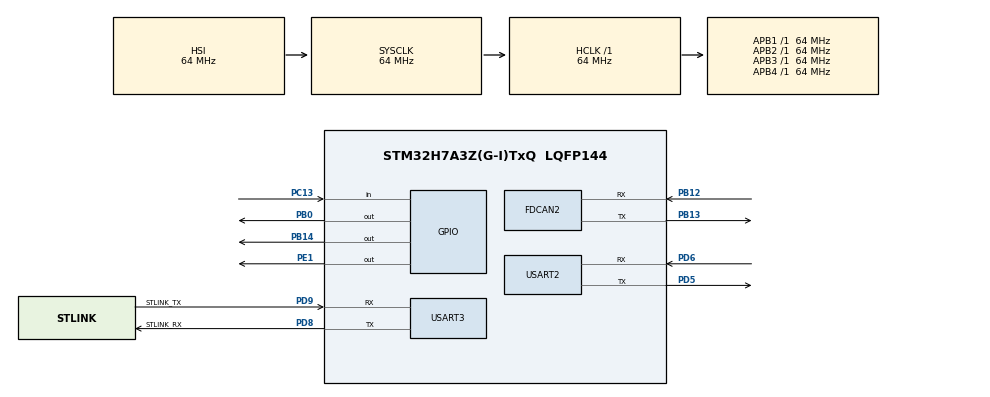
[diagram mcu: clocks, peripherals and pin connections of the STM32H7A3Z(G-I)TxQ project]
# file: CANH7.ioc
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CORTEX_M7.default_mode_Activation=1
FDCAN2.AutoRetransmission=ENABLE
FDCAN2.CalculateBaudRateNominal=320000
FDCAN2.CalculateTimeBitNominal=3125
FDCAN2.CalculateTimeQuantumNominal=31.25
FDCAN2.DataPrescaler=2
FDCAN2.DataSyncJumpWidth=12
FDCAN2.DataTimeSeg1=12
FDCAN2.DataTimeSeg2=12
FDCAN2.FrameFormat=FDCAN_FRAME_FD_BRS
FDCAN2.NominalPrescaler=1
FDCAN2.NominalSyncJumpWidth=13
FDCAN2.NominalTimeSeg1=86
FDCAN2.NominalTimeSeg2=13
FDCAN2.RxBufferSize=FDCAN_DATA_BYTES_12
FDCAN2.RxBuffersNbr=0
FDCAN2.RxFifo0ElmtSize=FDCAN_DATA_BYTES_8
FDCAN2.RxFifo0ElmtsNbr=1
FDCAN2.RxFifo1ElmtsNbr=0
FDCAN2.StdFiltersNbr=1
FDCAN2.TxBuffersNbr=0
FDCAN2.TxElmtSize=FDCAN_DATA_BYTES_8
FDCAN2.TxFifoQueueElmtsNbr=1
Mcu.Family=STM32H7
Mcu.Name=STM32H7A3Z(G-I)TxQ
Mcu.Package=LQFP144
NUCLEO-H7A3ZI-Q.BUTTON=1
NUCLEO-H7A3ZI-Q.LD1=true
NUCLEO-H7A3ZI-Q.LD2=true
NUCLEO-H7A3ZI-Q.LD3=true
NVIC.EXTI15_10_IRQn=true\:0\:0\:false\:false\:true\:false\:true\:true
NVIC.FDCAN2_IT0_IRQn=true\:0\:0\:false\:false\:true\:true\:true\:true
NVIC.FDCAN2_IT1_IRQn=true\:0\:0\:false\:false\:true\:true\:true\:true
NVIC.PriorityGroup=NVIC_PRIORITYGROUP_4
NVIC.USART2_IRQn=true\:0\:0\:false\:false\:true\:true\:true\:true
PB0.Signal=GPIO_Output
PB12.Mode=FDCAN_Activate
PB12.Signal=FDCAN2_RX
PB13.Mode=FDCAN_Activate
PB13.Signal=FDCAN2_TX
PB14.Signal=GPIO_Output
PC13.Signal=GPIO_Input
PC14-OSC32_IN.GPIO_Label=OSC32_IN
PC14-OSC32_IN.Signal=RCC_OSC32_IN
PC15-OSC32_OUT.GPIO_Label=OSC32_OUT
PC15-OSC32_OUT.Signal=RCC_OSC32_OUT
PD5.GPIO_Speed=GPIO_SPEED_FREQ_VERY_HIGH
PD5.Mode=Asynchronous
PD5.Signal=USART2_TX
PD6.GPIO_Speed=GPIO_SPEED_FREQ_VERY_HIGH
PD6.Mode=Asynchronous
PD6.Signal=USART2_RX
PD8.GPIO_Label=STLINK_RX
PD8.Mode=Asynchronous
PD8.Signal=USART3_TX
PD9.GPIO_Label=STLINK_TX
PD9.Mode=Asynchronous
PD9.Signal=USART3_RX
PE1.Signal=GPIO_Output
PH0-OSC_IN.GPIO_Label=PH0-MCU
PH0-OSC_IN.Signal=RCC_OSC_IN
PH1-OSC_OUT.GPIO_Label=PH1-MCU
PH1-OSC_OUT.Signal=RCC_OSC_OUT
ProjectManager.HeapSize=0x200
ProjectManager.StackSize=0x400
ProjectManager.TargetToolchain=STM32CubeIDE
RCC.ADCFreq_Value=129000000
RCC.APB1Freq_Value=64000000
RCC.APB2Freq_Value=64000000
RCC.APB3Freq_Value=64000000
RCC.APB4Freq_Value=64000000
RCC.CortexFreq_Value=64000000
RCC.DIVM1=4
RCC.DIVM3=1
RCC.DIVN1=8
RCC.DIVN3=24
RCC.DIVQ1=4
RCC.HCLKFreq_Value=64000000
RCC.HSE_VALUE=8000000
RCC.PLLFRACN=0
RCC.PWR_Regulator_Voltage_Scale=PWR_REGULATOR_VOLTAGE_SCALE0
RCC.SYSCLKFreq_VALUE=64000000
RCC.SupplySource=PWR_DIRECT_SMPS_SUPPLY
RCC.USBCLockSelection=RCC_USBCLKSOURCE_HSI48
RCC.USBFreq_Value=48000000
USART2.VirtualMode-Asynchronous=VM_ASYNC
USART3.VirtualMode-Asynchronous=VM_ASYNC
VP_MEMORYMAP_VS_MEMORYMAP.Mode=CurAppReg
VP_NUCLEO-H7A3ZI-Q_VS_BSP_COMMON.Mode=COMMON
board=NUCLEO-H7A3ZI-Q

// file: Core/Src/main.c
/* USER CODE BEGIN Header */
/**
  ******************************************************************************
  * @file           : main.c
  * @brief          : Main program body
  ******************************************************************************
  * @attention
  *
  * Copyright (c) 2025 STMicroelectronics.
  * All rights reserved.
  *
  * This software is licensed under terms that can be found in the LICENSE file
  * in the root directory of this software component.
  * If no LICENSE file comes with this software, it is provided AS-IS.
  *
  ******************************************************************************
  */
/* USER CODE END Header */
#include "main.h"

/* USER CODE BEGIN Includes */
#include <stdio.h>
#include <string.h>
#define START_MARKER_1 0xAA
#define START_MARKER_2 0x55
#define END_MARKER_1   0x55
#define END_MARKER_2   0xAA
#define PACKET_SIZE    156
#define PAYLOAD_SIZE   152

#define OD_TEMP_INDEX        0x2000
#define OD_VIB_INDEX         0x2001
#define OD_PRESS_INDEX       0x2002
#define OD_FLOW_INDEX        0x2003
#define OD_CURRENT_INDEX     0x2004
#define OD_VOLTAGE_INDEX     0x2005

#define OD_FFT_TEMP_INDEX    0x2010
#define OD_FFT_VIB_INDEX     0x2011
#define OD_FFT_PRESS_INDEX  0x2012
#define OD_FFT_FLOW_INDEX   0x2013
#define SDO_INIT_UPLOAD     0x40
#define SDO_EXPEDITED_4B   0x43
#define SDO_EXPEDITED_NB   0x4F   // example for arrays (custom use)

#define NODE_ID_SERVER   0x01
#define NODE_ID_CLIENT   0x01

uint16_t index_glob = 0;
uint32_t offset = 0;

#pragma pack(push, 1)
typedef struct {
  float Temperature;
  float Vibration;
  float Pressure;
  float Flow_Rate;
  float Current;
  float Voltage;
  float FFT_Temperature[8];
  float FFT_Vibration[8];
  float FFT_Pressure[8];
  float FFT_Flow[8];
} DataPacket;
#pragma pack(pop)
/* USER CODE END Includes */

/* USER CODE BEGIN PD */
uint32_t bytesToDLC(uint32_t size)
{
    if (size <= 8)  return size << 16;
    if (size <= 12) return FDCAN_DLC_BYTES_12;
    if (size <= 16) return FDCAN_DLC_BYTES_16;
    if (size <= 20) return FDCAN_DLC_BYTES_20;
    if (size <= 24) return FDCAN_DLC_BYTES_24;
    if (size <= 32) return FDCAN_DLC_BYTES_32;
    if (size <= 48) return FDCAN_DLC_BYTES_48;
    return FDCAN_DLC_BYTES_64;
}
/* USER CODE END PD */

FDCAN_HandleTypeDef hfdcan2;

UART_HandleTypeDef huart2;
UART_HandleTypeDef huart3;

/* USER CODE BEGIN PV */
FDCAN_FilterTypeDef sFilterConfig;
FDCAN_TxHeaderTypeDef TxHeader;
FDCAN_RxHeaderTypeDef RxHeader;
int __io_putchar(int ch)
{
    HAL_UART_Transmit(&huart3, (uint8_t *)&ch, 1, HAL_MAX_DELAY);
    return ch;
}

/* USER CODE END PV */

void SystemClock_Config(void);
static void MPU_Config(void);
static void MX_GPIO_Init(void);
static void MX_USART3_UART_Init(void);
static void MX_FDCAN2_Init(void);
static void MX_USART2_UART_Init(void);
/* USER CODE BEGIN PFP */
int __io_putchar(int ch);
void processPacket(void);
void CANopen_SDO_Send_Float(uint8_t clientId, uint16_t index, uint8_t sub, float value);
void CANopen_SDO_Send_CHUNK(uint8_t clientId, float *array, uint32_t count);
void CANopen_SDO_Send_Array(uint8_t clientId, uint16_t index, uint8_t sub, float *array, uint32_t count);
void handle_CAN_request(FDCAN_RxHeaderTypeDef *rxHeader, uint8_t *rxData);
void HAL_UART_RxCpltCallback(UART_HandleTypeDef *huart);
void HAL_FDCAN_RxFifo0Callback(FDCAN_HandleTypeDef *hfdcan, uint32_t RxFifo0ITs);
/* USER CODE BEGIN PFP */
uint8_t rxBuffer[PACKET_SIZE];
DataPacket packet;
HAL_StatusTypeDef flag = HAL_ERROR ;
uint32_t totalSize = 156;
uint32_t maxFrameSize = 64;

/* USER CODE END PFP */

int main(void)
{

  /* MPU Configuration--------------------------------------------------------*/
  MPU_Config();

  /* MCU Configuration--------------------------------------------------------*/

  /* Reset of all peripherals, Initializes the Flash interface and the Systick. */
  HAL_Init();

  /* Configure the system clock */
  SystemClock_Config();

  /* Initialize all configured peripherals */
  MX_GPIO_Init();
  MX_USART3_UART_Init();
  MX_FDCAN2_Init();
  MX_USART2_UART_Init();
  /* USER CODE BEGIN 2 */
  HAL_NVIC_SetPriority(FDCAN2_IT0_IRQn, 0, 0);
  HAL_NVIC_EnableIRQ(FDCAN2_IT0_IRQn);
  /* Configure Tx buffer message */
  HAL_NVIC_SetPriority(USART2_IRQn, 1, 0);
  HAL_NVIC_EnableIRQ(USART2_IRQn);
  HAL_UART_Receive_IT(&huart2, rxBuffer, sizeof(rxBuffer));

  printf("UART interrupt ready. Waiting for data...\r\n");
    TxHeader.Identifier = 0x581;
    TxHeader.IdType = FDCAN_STANDARD_ID;
    TxHeader.TxFrameType = FDCAN_DATA_FRAME;
    TxHeader.DataLength = FDCAN_DLC_BYTES_64;
    TxHeader.ErrorStateIndicator = FDCAN_ESI_ACTIVE;
    TxHeader.BitRateSwitch = FDCAN_BRS_ON;
    TxHeader.FDFormat = FDCAN_FD_CAN;
    TxHeader.TxEventFifoControl = FDCAN_NO_TX_EVENTS;
    TxHeader.MessageMarker = 0x0; // Ignore because FDCAN_NO_TX_EVENTS

    /* Configure standard ID reception filter to Rx buffer 0 */
    sFilterConfig.IdType = FDCAN_STANDARD_ID;
    sFilterConfig.FilterIndex = 0;
  #if 0
    sFilterConfig.FilterType = FDCAN_FILTER_DUAL; // Ignore because FDCAN_FILTER_TO_RXBUFFER
  #endif
    sFilterConfig.FilterConfig = FDCAN_FILTER_TO_RXBUFFER;
    sFilterConfig.FilterID1 = 0x601; // ID of Node1
  #if 0
    sFilterConfig.FilterID2 = 0x0; // Ignore because FDCAN_FILTER_TO_RXBUFFER
  #endif
    sFilterConfig.RxBufferIndex = 0;
    if((HAL_FDCAN_ConfigFilter(&hfdcan2, &sFilterConfig)) != HAL_OK)
    {
      Error_Handler();
    }

    /* Start the FDCAN module */
    if((HAL_FDCAN_Start(&hfdcan2)) != HAL_OK)
    {
        Error_Handler();
    }

    if (HAL_FDCAN_ActivateNotification(&hfdcan2, FDCAN_IT_RX_FIFO0_NEW_MESSAGE, 0) != HAL_OK)
       {
         /* Notification Error */
         Error_Handler();
       }

  /* USER CODE END 2 */

  /* Initialize leds */
  BSP_LED_Init(LED_GREEN);
  BSP_LED_Init(LED_YELLOW);
  BSP_LED_Init(LED_RED);

  /* Initialize USER push-button, will be used to trigger an interrupt each time it's pressed.*/
  BSP_PB_Init(BUTTON_USER, BUTTON_MODE_EXTI);

  /* Infinite loop */
  while (1)
  {

  }
}

void SystemClock_Config(void)
{
  RCC_OscInitTypeDef RCC_OscInitStruct = {0};
  RCC_ClkInitTypeDef RCC_ClkInitStruct = {0};

  /*AXI clock gating */
  RCC->CKGAENR = 0xFFFFFFFF;

  /** Supply configuration update enable
  */
  HAL_PWREx_ConfigSupply(PWR_DIRECT_SMPS_SUPPLY);

  /** Configure the main internal regulator output voltage
  */
  __HAL_PWR_VOLTAGESCALING_CONFIG(PWR_REGULATOR_VOLTAGE_SCALE0);

  while(!__HAL_PWR_GET_FLAG(PWR_FLAG_VOSRDY)) {}

  /** Initializes the RCC Oscillators according to the specified parameters
  * in the RCC_OscInitTypeDef structure.
  */
  RCC_OscInitStruct.OscillatorType = RCC_OSCILLATORTYPE_HSI;
  RCC_OscInitStruct.HSIState = RCC_HSI_DIV1;
  RCC_OscInitStruct.HSICalibrationValue = 64;
  RCC_OscInitStruct.PLL.PLLState = RCC_PLL_ON;
  RCC_OscInitStruct.PLL.PLLSource = RCC_PLLSOURCE_HSI;
  RCC_OscInitStruct.PLL.PLLM = 4;
  RCC_OscInitStruct.PLL.PLLN = 8;
  RCC_OscInitStruct.PLL.PLLP = 2;
  RCC_OscInitStruct.PLL.PLLQ = 4;
  RCC_OscInitStruct.PLL.PLLR = 2;
  RCC_OscInitStruct.PLL.PLLRGE = RCC_PLL1VCIRANGE_3;
  RCC_OscInitStruct.PLL.PLLVCOSEL = RCC_PLL1VCOWIDE;
  RCC_OscInitStruct.PLL.PLLFRACN = 0;
  if (HAL_RCC_OscConfig(&RCC_OscInitStruct) != HAL_OK)
  {
    Error_Handler();
  }

  /** Initializes the CPU, AHB and APB buses clocks
  */
  RCC_ClkInitStruct.ClockType = RCC_CLOCKTYPE_HCLK|RCC_CLOCKTYPE_SYSCLK
                              |RCC_CLOCKTYPE_PCLK1|RCC_CLOCKTYPE_PCLK2
                              |RCC_CLOCKTYPE_D3PCLK1|RCC_CLOCKTYPE_D1PCLK1;
  RCC_ClkInitStruct.SYSCLKSource = RCC_SYSCLKSOURCE_HSI;
  RCC_ClkInitStruct.SYSCLKDivider = RCC_SYSCLK_DIV1;
  RCC_ClkInitStruct.AHBCLKDivider = RCC_HCLK_DIV1;
  RCC_ClkInitStruct.APB3CLKDivider = RCC_APB3_DIV1;
  RCC_ClkInitStruct.APB1CLKDivider = RCC_APB1_DIV1;
  RCC_ClkInitStruct.APB2CLKDivider = RCC_APB2_DIV1;
  RCC_ClkInitStruct.APB4CLKDivider = RCC_APB4_DIV1;

  if (HAL_RCC_ClockConfig(&RCC_ClkInitStruct, FLASH_LATENCY_1) != HAL_OK)
  {
    Error_Handler();
  }
}

static void MX_FDCAN2_Init(void)
{

  hfdcan2.Instance = FDCAN2;
  hfdcan2.Init.FrameFormat = FDCAN_FRAME_FD_BRS;
  hfdcan2.Init.Mode = FDCAN_MODE_NORMAL;
  hfdcan2.Init.AutoRetransmission = ENABLE;
  hfdcan2.Init.TransmitPause = DISABLE;
  hfdcan2.Init.ProtocolException = DISABLE;
  hfdcan2.Init.NominalPrescaler = 1;
  hfdcan2.Init.NominalSyncJumpWidth = 13;
  hfdcan2.Init.NominalTimeSeg1 = 86;
  hfdcan2.Init.NominalTimeSeg2 = 13;
  hfdcan2.Init.DataPrescaler = 2;
  hfdcan2.Init.DataSyncJumpWidth = 12;
  hfdcan2.Init.DataTimeSeg1 = 12;
  hfdcan2.Init.DataTimeSeg2 = 12;
  hfdcan2.Init.MessageRAMOffset = 0;
  hfdcan2.Init.StdFiltersNbr = 1;
  hfdcan2.Init.ExtFiltersNbr = 0;
  hfdcan2.Init.RxFifo0ElmtsNbr = 1;
  hfdcan2.Init.RxFifo0ElmtSize = FDCAN_DATA_BYTES_8;
  hfdcan2.Init.RxFifo1ElmtsNbr = 0;
  hfdcan2.Init.RxFifo1ElmtSize = FDCAN_DATA_BYTES_8;
  hfdcan2.Init.RxBuffersNbr = 0;
  hfdcan2.Init.RxBufferSize = FDCAN_DATA_BYTES_12;
  hfdcan2.Init.TxEventsNbr = 0;
  hfdcan2.Init.TxBuffersNbr = 0;
  hfdcan2.Init.TxFifoQueueElmtsNbr = 1;
  hfdcan2.Init.TxFifoQueueMode = FDCAN_TX_FIFO_OPERATION;
  hfdcan2.Init.TxElmtSize = FDCAN_DATA_BYTES_8;
  if (HAL_FDCAN_Init(&hfdcan2) != HAL_OK)
  {
    Error_Handler();
  }

}

static void MX_USART2_UART_Init(void)
{

  huart2.Instance = USART2;
  huart2.Init.BaudRate = 115200;
  huart2.Init.WordLength = UART_WORDLENGTH_8B;
  huart2.Init.StopBits = UART_STOPBITS_1;
  huart2.Init.Parity = UART_PARITY_NONE;
  huart2.Init.Mode = UART_MODE_TX_RX;
  huart2.Init.HwFlowCtl = UART_HWCONTROL_NONE;
  huart2.Init.OverSampling = UART_OVERSAMPLING_16;
  huart2.Init.OneBitSampling = UART_ONE_BIT_SAMPLE_DISABLE;
  huart2.Init.ClockPrescaler = UART_PRESCALER_DIV1;
  huart2.AdvancedInit.AdvFeatureInit = UART_ADVFEATURE_NO_INIT;
  if (HAL_UART_Init(&huart2) != HAL_OK)
  {
    Error_Handler();
  }
  if (HAL_UARTEx_SetTxFifoThreshold(&huart2, UART_TXFIFO_THRESHOLD_1_8) != HAL_OK)
  {
    Error_Handler();
  }
  if (HAL_UARTEx_SetRxFifoThreshold(&huart2, UART_RXFIFO_THRESHOLD_1_8) != HAL_OK)
  {
    Error_Handler();
  }
  if (HAL_UARTEx_DisableFifoMode(&huart2) != HAL_OK)
  {
    Error_Handler();
  }

}

static void MX_USART3_UART_Init(void)
{

  huart3.Instance = USART3;
  huart3.Init.BaudRate = 115200;
  huart3.Init.WordLength = UART_WORDLENGTH_8B;
  huart3.Init.StopBits = UART_STOPBITS_1;
  huart3.Init.Parity = UART_PARITY_NONE;
  huart3.Init.Mode = UART_MODE_TX_RX;
  huart3.Init.HwFlowCtl = UART_HWCONTROL_NONE;
  huart3.Init.OverSampling = UART_OVERSAMPLING_16;
  huart3.Init.OneBitSampling = UART_ONE_BIT_SAMPLE_DISABLE;
  huart3.Init.ClockPrescaler = UART_PRESCALER_DIV1;
  huart3.AdvancedInit.AdvFeatureInit = UART_ADVFEATURE_NO_INIT;
  if (HAL_UART_Init(&huart3) != HAL_OK)
  {
    Error_Handler();
  }
  if (HAL_UARTEx_SetTxFifoThreshold(&huart3, UART_TXFIFO_THRESHOLD_1_8) != HAL_OK)
  {
    Error_Handler();
  }
  if (HAL_UARTEx_SetRxFifoThreshold(&huart3, UART_RXFIFO_THRESHOLD_1_8) != HAL_OK)
  {
    Error_Handler();
  }
  if (HAL_UARTEx_DisableFifoMode(&huart3) != HAL_OK)
  {
    Error_Handler();
  }

}

static void MX_GPIO_Init(void)
{

  /* GPIO Ports Clock Enable */
  __HAL_RCC_GPIOC_CLK_ENABLE();
  __HAL_RCC_GPIOH_CLK_ENABLE();
  __HAL_RCC_GPIOB_CLK_ENABLE();
  __HAL_RCC_GPIOD_CLK_ENABLE();

}

/* USER CODE BEGIN 4 */
void processPacket(void)
{
    // Check start/end markers
    if (rxBuffer[0] == START_MARKER_1 && rxBuffer[1] == START_MARKER_2 &&
        rxBuffer[154] == END_MARKER_1 && rxBuffer[155] == END_MARKER_2)
    {
        // Copy payload (152 bytes) into struct
        memcpy(&packet, &rxBuffer[2], PAYLOAD_SIZE);
        printf("Received %d bytes:\r\n", sizeof(packet));
        uint8_t *p = (uint8_t *)&packet;
        for (int i = 0; i < sizeof(packet); i++)
        {
            printf("%02X ", p[i]);
        }
        printf("\r\n");

        // Now you can access the data directly
        printf("Temperature: %.6f\r\n", packet.Temperature);
        printf("Vibration: %.6f\r\n", packet.Vibration);
        printf("Pressure: %.6f\r\n", packet.Pressure);
        printf("Flow Rate: %.6f\r\n", packet.Flow_Rate);
        printf("Current: %.6f\r\n", packet.Current);
        printf("Voltage: %.6f\r\n", packet.Voltage);

        printf("FFT_Temperature: ");
        for (int i = 0; i < 8; i++) printf("%.6f ", packet.FFT_Temperature[i]);
        printf("\r\n");

        printf("FFT_Vibration: ");
        for (int i = 0; i < 8; i++) printf("%.6f ", packet.FFT_Vibration[i]);
        printf("\r\n");

        printf("FFT_Pressure: ");
        for (int i = 0; i < 8; i++) printf("%.6f ", packet.FFT_Pressure[i]);
        printf("\r\n");

        printf("FFT_Flow: ");
        for (int i = 0; i < 8; i++) printf("%.6f ", packet.FFT_Flow[i]);
        printf("\r\n");
    }
    else
    {
        printf("Invalid markers!\r\n");
    }
}

void CANopen_SDO_Send_Float(uint8_t clientId, uint16_t index, uint8_t sub, float value)
{
    FDCAN_TxHeaderTypeDef tx = {0};
    uint8_t data[8] = {0};

    data[0] = SDO_EXPEDITED_4B;
    data[1] = index & 0xFF;
    data[2] = index >> 8;
    data[3] = sub;
    memcpy(&data[4], &value, sizeof(float));

    tx.Identifier = 0x580 + clientId;  // server → client
    tx.IdType = FDCAN_STANDARD_ID;
    tx.TxFrameType = FDCAN_DATA_FRAME;
    tx.FDFormat = FDCAN_FD_CAN;
    tx.BitRateSwitch = FDCAN_BRS_ON;
    tx.DataLength = FDCAN_DLC_BYTES_8;

    HAL_FDCAN_AddMessageToTxFifoQ(&hfdcan2, &tx, data);
}

void CANopen_SDO_Send_CHUNK(uint8_t clientId, float *array, uint32_t count)
{
    uint8_t txData[8];
    FDCAN_TxHeaderTypeDef tx = {0};

    // CAN Tx configuration
    tx.Identifier = 0x580 + clientId;
    tx.IdType = FDCAN_STANDARD_ID;
    tx.TxFrameType = FDCAN_DATA_FRAME;
    tx.DataLength = FDCAN_DLC_BYTES_8;
    tx.FDFormat = FDCAN_FD_CAN;
    tx.BitRateSwitch = FDCAN_BRS_ON;

    // Total bytes in array

        uint8_t n = count - offset;
        if (n > 7) n = 7; // max 7 bytes per segment

        txData[0] = 0x4F; // Initiate upload array

        memcpy(&txData[1],((uint8_t *)array) + offset, n);

        HAL_FDCAN_AddMessageToTxFifoQ(&hfdcan2, &tx, txData);

        offset += n;
        if (n < 7)
        {
            offset = 0 ;

        }
}

void CANopen_SDO_Send_Array(uint8_t clientId, uint16_t index, uint8_t sub,float *array, uint32_t count)
{
	index_glob = index;
	uint8_t data[8];
    FDCAN_TxHeaderTypeDef tx = {0};

    // ---- 1) Initiate upload response ----
    memset(data, 0, 8);
    data[0] = 0x41;             // Initiate upload array
    data[1] = index & 0xFF;
    data[2] = index >> 8;
    data[3] = sub;
    memcpy(&data[4], &count, 4);  // total number of bytes in array

    tx.Identifier = 0x580 + clientId; // SDO response ID
    tx.IdType = FDCAN_STANDARD_ID;
    tx.TxFrameType = FDCAN_DATA_FRAME;
    tx.DataLength = FDCAN_DLC_BYTES_8;
    tx.FDFormat = FDCAN_FD_CAN;
    tx.BitRateSwitch = FDCAN_BRS_ON;

    HAL_FDCAN_AddMessageToTxFifoQ(&hfdcan2, &tx, data);
}

void handle_CAN_request(FDCAN_RxHeaderTypeDef *rxHeader, uint8_t *rxData)
{
    uint8_t  cs  = rxData[0];
    uint16_t idx = rxData[1] | (rxData[2] << 8);
    uint8_t  sub = rxData[3];

    if (cs == SDO_INIT_UPLOAD)   // only SDO read
    {
    switch (idx)
    {
        // ---- Scalars ----
        case OD_TEMP_INDEX:
            CANopen_SDO_Send_Float(NODE_ID_CLIENT, idx, sub, packet.Temperature);
            break;

        case OD_VIB_INDEX:
            CANopen_SDO_Send_Float(NODE_ID_CLIENT, idx, sub, packet.Vibration);
            break;

        case OD_PRESS_INDEX:
            CANopen_SDO_Send_Float(NODE_ID_CLIENT, idx, sub, packet.Pressure);
            break;

        case OD_FLOW_INDEX:
            CANopen_SDO_Send_Float(NODE_ID_CLIENT, idx, sub, packet.Flow_Rate);
            break;

        case OD_CURRENT_INDEX:
            CANopen_SDO_Send_Float(NODE_ID_CLIENT, idx, sub, packet.Current);
            break;

        case OD_VOLTAGE_INDEX:
            CANopen_SDO_Send_Float(NODE_ID_CLIENT, idx, sub, packet.Voltage);
            break;

        // ---- FFT Temperature ----
        case OD_FFT_TEMP_INDEX:
            CANopen_SDO_Send_Array(NODE_ID_CLIENT, idx, sub,
                                   packet.FFT_Temperature,
                                   sizeof(packet.FFT_Temperature));

            break;

        // ---- FFT Vibration ----
        case OD_FFT_VIB_INDEX:
            CANopen_SDO_Send_Array(NODE_ID_CLIENT, idx, sub,
                                   packet.FFT_Vibration,
                                   sizeof(packet.FFT_Vibration));
            break;

        // ---- FFT Pressure ----
        case OD_FFT_PRESS_INDEX:
            CANopen_SDO_Send_Array(NODE_ID_CLIENT, idx, sub,
                                   packet.FFT_Pressure,
                                   sizeof(packet.FFT_Pressure));
            break;

        // ---- FFT Flow Rate ----
        case OD_FFT_FLOW_INDEX:
        	CANopen_SDO_Send_Array(NODE_ID_CLIENT, idx, sub,
                                   packet.FFT_Flow,
								   sizeof(packet.FFT_Flow));
            break;
        default:
            printf("Unknown SDO index 0x%04X\r\n", idx);
            break;
    }
   }
    else if ( cs == 0x4E){

    	switch (index_glob)
    	    {    	        // ---- FFT Temperature ----
    	        case OD_FFT_TEMP_INDEX:
    	            CANopen_SDO_Send_CHUNK(NODE_ID_CLIENT,
    	                                   packet.FFT_Temperature,
    	                                   sizeof(packet.FFT_Temperature));
    	            break;

    	        // ---- FFT Vibration ----
    	        case OD_FFT_VIB_INDEX:
    	        	CANopen_SDO_Send_CHUNK(NODE_ID_CLIENT,
    	                                   packet.FFT_Vibration,
    	                                   sizeof(packet.FFT_Vibration));
    	            break;

    	        // ---- FFT Pressure ----
    	        case OD_FFT_PRESS_INDEX:
    	        	CANopen_SDO_Send_CHUNK(NODE_ID_CLIENT,
    	                                   packet.FFT_Pressure,
    	                                   sizeof(packet.FFT_Pressure));
    	            break;
        	        // ---- FFT Flow Rate ----
        	    case OD_FFT_FLOW_INDEX:
        	    	CANopen_SDO_Send_CHUNK(NODE_ID_CLIENT,
        	                                packet.FFT_Flow,
        	                                sizeof(packet.FFT_Flow));
        	        break;

    	        default:
    	            printf("Unknown SDO index 0x%04X\r\n", idx);
    	            break;
    	    }
    }
}

void HAL_UART_RxCpltCallback(UART_HandleTypeDef *huart)
{
    if (huart->Instance == USART2)
    {
        // Print received data to PuTTY
        printf("Received %d bytes:\r\n", sizeof(rxBuffer));
        for (int i = 0; i < sizeof(rxBuffer); i++)
        {
            printf("%02X ", rxBuffer[i]);
        }
        printf("\r\n");
        processPacket();
        // Flush buffer and restart interrupt
        HAL_UART_Receive_IT(&huart2, rxBuffer, sizeof(rxBuffer));
    }
}

void HAL_FDCAN_RxFifo0Callback(FDCAN_HandleTypeDef *hfdcan, uint32_t RxFifo0ITs)
{
    if ((RxFifo0ITs & FDCAN_IT_RX_FIFO0_NEW_MESSAGE) != 0)
    {
        FDCAN_RxHeaderTypeDef RxHeader;
        uint8_t rxData[8]={};
        for (int i = 0; i < sizeof(rxData); i++)
         {
             printf("%02X ", rxData[i]);
         }
        if (HAL_FDCAN_GetRxMessage(hfdcan, FDCAN_RX_FIFO0, &RxHeader, rxData) == HAL_OK)
        {
            for (int i = 0; i < sizeof(rxData); i++)
             {
                 printf("%02X ", rxData[i]);
             }

            handle_CAN_request(&RxHeader, rxData);
            }
        }
    }
/* USER CODE END 4 */

 /* MPU Configuration */

void MPU_Config(void)
{
  MPU_Region_InitTypeDef MPU_InitStruct = {0};

  /* Disables the MPU */
  HAL_MPU_Disable();

  /** Initializes and configures the Region and the memory to be protected
  */
  MPU_InitStruct.Enable = MPU_REGION_ENABLE;
  MPU_InitStruct.Number = MPU_REGION_NUMBER0;
  MPU_InitStruct.BaseAddress = 0x0;
  MPU_InitStruct.Size = MPU_REGION_SIZE_4GB;
  MPU_InitStruct.SubRegionDisable = 0x87;
  MPU_InitStruct.TypeExtField = MPU_TEX_LEVEL0;
  MPU_InitStruct.AccessPermission = MPU_REGION_NO_ACCESS;
  MPU_InitStruct.DisableExec = MPU_INSTRUCTION_ACCESS_DISABLE;
  MPU_InitStruct.IsShareable = MPU_ACCESS_SHAREABLE;
  MPU_InitStruct.IsCacheable = MPU_ACCESS_NOT_CACHEABLE;
  MPU_InitStruct.IsBufferable = MPU_ACCESS_NOT_BUFFERABLE;

  HAL_MPU_ConfigRegion(&MPU_InitStruct);
  /* Enables the MPU */
  HAL_MPU_Enable(MPU_PRIVILEGED_DEFAULT);

}

void Error_Handler(void)
{
  __disable_irq();
  while (1)
  {
  }
}
